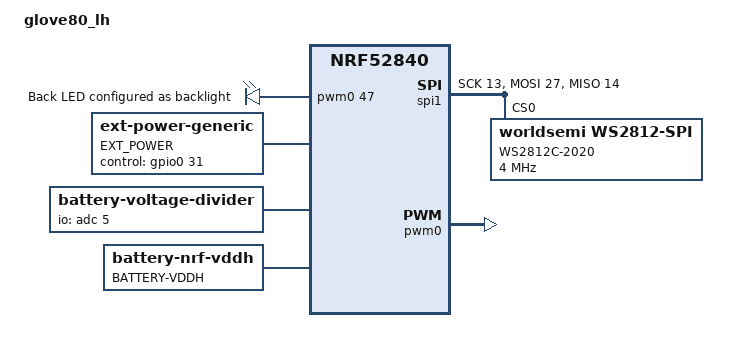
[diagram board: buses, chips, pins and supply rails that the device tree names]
/*
 * Copyright (c) 2021 The ZMK Contributors
 *
 * SPDX-License-Identifier: MIT
 */

/dts-v1/;
#include <nordic/nrf52840_qiaa.dtsi>
#include <dt-bindings/led/led.h>
#include "glove80.dtsi"

/ {
	model = "glove80_lh";
	compatible = "glove80_lh";

	chosen {
		zmk,underglow = &led_strip;
        zmk,backlight = &back_led_backlight;
		zmk,battery   = &vbatt;
		zmk,underglow-indicators = &underglow_indicators;
	};

	back_led_backlight: pwmleds {
		compatible = "pwm-leds";
		label = "BACK LED";
		pwm_led_0 {
			pwms = <&pwm0 47>; 
			label = "Back LED configured as backlight";
		};
	};

	ext-power {
		compatible = "zmk,ext-power-generic";
		label = "EXT_POWER";
		control-gpios = <&gpio0 31 GPIO_ACTIVE_HIGH>; /* WS2812_CE */
		init-delay-ms = <100>;
	};

	vbatt: vbatt-divider {
		compatible = "zmk,battery-voltage-divider";
		label = "BATTERY";
		io-channels = <&adc 5>;
		output-ohms = <820000>; 
		full-ohms = <(1500000 + 820000)>;
	};

	vbatt-vddh {
		compatible = "zmk,battery-nrf-vddh";
		label = "BATTERY-VDDH";
	};

/*
  MoErgo 18 LEDs (prototype)
  f1 f2 f3 f4 f5 f6
  14 11  8  5  2
  15 12  9  6  3  0
  16 13 10  7  4  1

  17

  MoErgo 40 LEDs

  34 28 22 16 10
  35 29 23 17 11 6
  36 30 24 18 12 7
  37 31 25 19 13 8
  38 32 26 20 14 9
  39 33 27 21 15
                0 1 2
                3 4 5
*/

	underglow_indicators: underglow-indicators {
		compatible = "zmk,underglow-indicators";
		layer-state = <15 12 9 6 3 0>;
		bat-lhs = <15 12 9 6 3 0>;
		bat-rhs = <16 13 10 7 4 1>;
		capslock = <8>;
		numlock = <5>;
		scrolllock = <2>;
		ble-state = <14 11>;
		usb-state = <17>;
	};
};

&spi1 {
	compatible = "nordic,nrf-spim";
	/* Cannot be used together with i2c0. */
	status = "okay";
	mosi-pin = <27>; /* WS2812_VEXT_DATA */
	// Unused pins, needed for SPI definition, but not used by the ws2812 driver itself.
	sck-pin = <13>; /* Must select a not connected pin */
	miso-pin = <14>; /* Must select a not connected pin */

	led_strip: ws2812@0 {
		compatible = "worldsemi,ws2812-spi";
		label = "WS2812C-2020";

		/* SPI */
		reg = <0>; /* ignored, but necessary for SPI bindings */
		spi-max-frequency = <4000000>;

		/* WS2812 */
		chain-length = <40>; /* 40 keys have underglow at the moment */
		spi-one-frame = <0x70>;
		spi-zero-frame = <0x40>;

		color-mapping = <LED_COLOR_ID_GREEN LED_COLOR_ID_RED LED_COLOR_ID_BLUE>;
	};
};

&pwm0 {
	status = "okay";
	ch0-pin = <47>; 
};


/* [SC] Pretty sure this is not required
&uart0 {
	compatible = "nordic,nrf-uarte";
	tx-pin = <6>;
	rx-pin = <8>;
};
*/

&kscan0 {
	row-gpios
		= <&gpio0 26 (GPIO_ACTIVE_HIGH | GPIO_PULL_DOWN)> // LH ROW1
		, <&gpio0 5 (GPIO_ACTIVE_HIGH | GPIO_PULL_DOWN)> // LH ROW2
		, <&gpio0 6 (GPIO_ACTIVE_HIGH | GPIO_PULL_DOWN)> // LH ROW3
		, <&gpio0 8 (GPIO_ACTIVE_HIGH | GPIO_PULL_DOWN)> // LH ROW4
		, <&gpio0 7 (GPIO_ACTIVE_HIGH | GPIO_PULL_DOWN)> // LH ROW5
		, <&gpio1 9 (GPIO_ACTIVE_HIGH | GPIO_PULL_DOWN)> // LH ROW6
		;
	col-gpios
		= <&gpio1 8 GPIO_OPEN_SOURCE> // LH COL6
		, <&gpio1 4 GPIO_OPEN_SOURCE> // LH COL5
		, <&gpio1 6 GPIO_OPEN_SOURCE> // LH COL4
		, <&gpio1 7 GPIO_OPEN_SOURCE> // LH COL3
		, <&gpio1 5 GPIO_OPEN_SOURCE> // LH COL2
		, <&gpio1 3 GPIO_OPEN_SOURCE> // LH COL1
		, <&gpio1 1 GPIO_OPEN_SOURCE> // LH Thumb
		;
};

